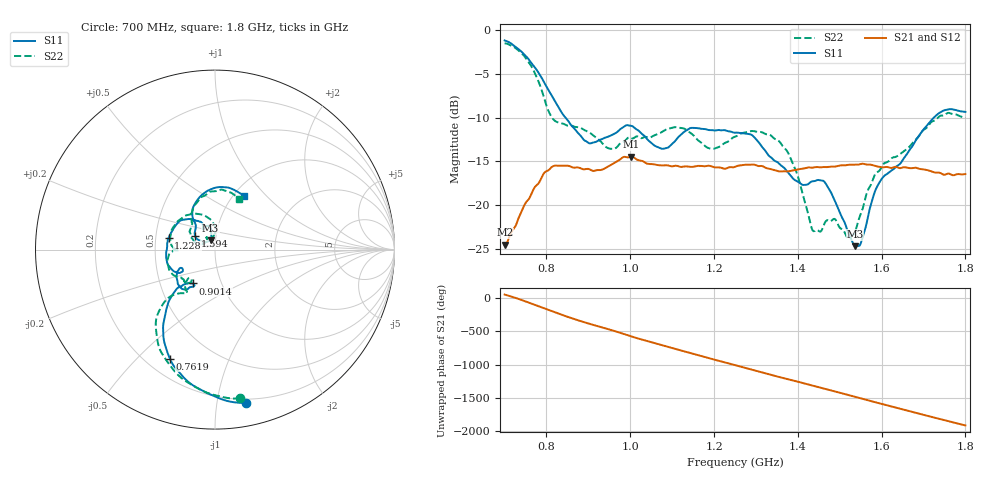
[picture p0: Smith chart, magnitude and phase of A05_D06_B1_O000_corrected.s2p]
! Created with skrf 1.9.0 (http://scikit-rf.org).
# Hz S RI R 50.0
!freq ReS11 ImS11 ReS21 ImS21 ReS12 ImS12 ReS22 ImS22
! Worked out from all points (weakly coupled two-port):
!   1601 points, 700 MHz to 1.8 GHz, reference 50 ohm
!   highest |S21| = -14.46 dB at 1.002 GHz (marker M1); lowest = -24.5 dB at 700.7 MHz (marker M2)
!   lowest |S11| = -24.7 dB at 1.537 GHz (marker M3), VSWR 1.12, Z = 47.3 + j5.02 ohm
!   |S11| at or under -10 dB: 845.5 MHz to 1.725 GHz (879.4 MHz wide, 68.4 % of centre)
!   |S22| runs from -23.8 to -1.5 dB; largest |S21 - S12| = 0.0034
!   S11 on the Smith chart (normalised r, x): 700 MHz: 0.17, -1.21; 761.9 MHz: 0.29, -0.63; 901.4 MHz: 0.73, -0.29; 1.228 GHz: 0.58, +0.08; 1.594 GHz: 0.79, +0.12; 1.8 GHz: 1.12, +0.76
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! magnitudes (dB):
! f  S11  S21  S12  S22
! 700 MHz  -1.2  -24.5  -24.3  -1.5
! 700.7 MHz  -1.2  -24.5  -24.2  -1.5
! 761.9 MHz  -3.6  -18.9  -18.9  -4.0
! 815.5 MHz  -7.7  -15.6  -15.6  -10.2
! 883.6 MHz  -12.2  -15.8  -15.7  -11.2
! 901.4 MHz  -12.9  -15.9  -15.9  -11.7
! 953 MHz  -12.1  -15.4  -15.4  -13.6
! 1.002 GHz  -10.9  -14.5  -14.6  -12.4
! 1.067 GHz  -13.4  -15.4  -15.4  -11.9
! 1.145 GHz  -11.2  -15.6  -15.6  -11.8
! 1.228 GHz  -11.5  -15.8  -15.7  -12.8
! 1.25 GHz  -11.7  -15.6  -15.5  -12.2
! 1.358 GHz  -15.4  -16.1  -16.1  -12.9
! 1.395 GHz  -17.2  -16.0  -16.0  -16.0
! 1.434 GHz  -17.3  -15.7  -15.7  -22.7
! 1.468 GHz  -17.6  -15.7  -15.6  -21.8
! 1.537 GHz  -24.7  -15.4  -15.4  -23.0
! 1.552 GHz  -24.1  -15.3  -15.3  -20.8
! 1.594 GHz  -17.5  -15.6  -15.6  -16.1
! 1.617 GHz  -16.3  -15.7  -15.6  -15.0
! 1.734 GHz  -9.6  -16.3  -16.3  -10.0
! 1.8 GHz  -9.4  -16.4  -16.4  -10.0
